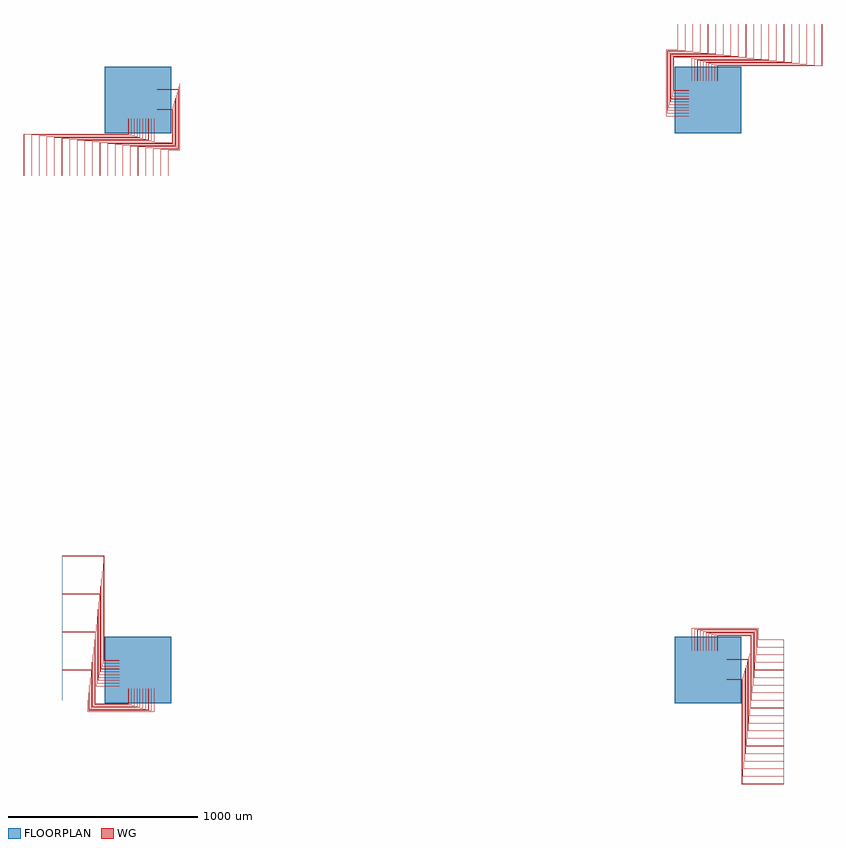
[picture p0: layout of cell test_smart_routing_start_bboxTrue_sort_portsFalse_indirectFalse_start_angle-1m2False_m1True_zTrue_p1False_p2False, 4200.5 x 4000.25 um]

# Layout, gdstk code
import gdstk
lib = gdstk.Library(unit=1e-6, precision=1e-09)
def R(c, l, rs):  # rectangles x0, y0, x1, y1
    for r in rs: c.add(gdstk.rectangle(r[:2], r[2:], *l))
def P(c, l, *ps):  # polygons
    for p in ps: c.add(gdstk.Polygon(p, *l))
WG = (1, 0)
FLOORPLAN = (10, 0)

test_smart_routing_start = lib.new_cell('test_smart_routing_start_bboxTrue_sort_portsFalse_indirectFalse_start_angle-1m2False_m1True_zTrue_p1False_p2False')
P(test_smart_routing_start, WG, [(-179.5,49.75),(-179.5,599.75),(-400,599.75),(-400,600.25),(-179,600.25),(-179,50.25),(-100,50.25),(-100,49.75)],
  [(-184,34.75),(-184,559.75),(-400,559.75),(-400,560.25),(-183.5,560.25),(-183.5,35.25),(-100,35.25),(-100,34.75)],
  [(-188.5,19.75),(-188.5,519.75),(-400,519.75),(-400,520.25),(-188,520.25),(-188,20.25),(-100,20.25),(-100,19.75)],
  [(-193,4.75),(-193,479.75),(-400,479.75),(-400,480.25),(-192.5,480.25),(-192.5,5.25),(-100,5.25),(-100,4.75)],
  [(-197.5,-10.25),(-197.5,439.75),(-400,439.75),(-400,440.25),(-197,440.25),(-197,-9.75),(-100,-9.75),(-100,-10.25)],
  [(-202,-25.25),(-202,399.75),(-400,399.75),(-400,400.25),(-201.5,400.25),(-201.5,-24.75),(-100,-24.75),(-100,-25.25)],
  [(-206.5,-40.25),(-206.5,359.75),(-400,359.75),(-400,360.25),(-206,360.25),(-206,-39.75),(-100,-39.75),(-100,-40.25)],
  [(-211,-55.25),(-211,319.75),(-400,319.75),(-400,320.25),(-210.5,320.25),(-210.5,-54.75),(-100,-54.75),(-100,-55.25)],
  [(-215.5,-70.25),(-215.5,279.75),(-400,279.75),(-400,280.25),(-215,280.25),(-215,-69.75),(-100,-69.75),(-100,-70.25)],
  [(-220,-85.25),(-220,239.75),(-400,239.75),(-400,240.25),(-219.5,240.25),(-219.5,-84.75),(-100,-84.75),(-100,-85.25)],
  [(-224.5,-179.5),(-224.5,199.75),(-400,199.75),(-400,200.25),(-224,200.25),(-224,-179),(-50.25,-179),(-50.25,-100),(-49.75,-100),(-49.75,-179.5)],
  [(-229,-184),(-229,159.75),(-400,159.75),(-400,160.25),(-228.5,160.25),(-228.5,-183.5),(-35.25,-183.5),(-35.25,-100),(-34.75,-100),(-34.75,-184)],
  [(-233.5,-188.5),(-233.5,119.75),(-400,119.75),(-400,120.25),(-233,120.25),(-233,-188),(-20.25,-188),(-20.25,-100),(-19.75,-100),(-19.75,-188.5)],
  [(-238,-193),(-238,79.75),(-400,79.75),(-400,80.25),(-237.5,80.25),(-237.5,-192.5),(-5.25,-192.5),(-5.25,-100),(-4.75,-100),(-4.75,-193)],
  [(-242.5,-197.5),(-242.5,39.75),(-400,39.75),(-400,40.25),(-242,40.25),(-242,-197),(9.75,-197),(9.75,-100),(10.25,-100),(10.25,-197.5)],
  [(-247,-202),(-247,-0.25),(-400,-0.25),(-400,0.25),(-246.5,0.25),(-246.5,-201.5),(24.75,-201.5),(24.75,-100),(25.25,-100),(25.25,-202)],
  [(-251.5,-206.5),(-251.5,-40.25),(-400,-40.25),(-400,-39.75),(-251,-39.75),(-251,-206),(39.75,-206),(39.75,-100),(40.25,-100),(40.25,-206.5)],
  [(-256,-211),(-256,-80.25),(-400,-80.25),(-400,-79.75),(-255.5,-79.75),(-255.5,-210.5),(54.75,-210.5),(54.75,-100),(55.25,-100),(55.25,-211)],
  [(-260.5,-215.5),(-260.5,-120.25),(-400,-120.25),(-400,-119.75),(-260,-119.75),(-260,-215),(69.75,-215),(69.75,-100),(70.25,-100),(70.25,-215.5)],
  [(-265,-220),(-265,-160.25),(-400,-160.25),(-400,-159.75),(-264.5,-159.75),(-264.5,-219.5),(84.75,-219.5),(84.75,-100),(85.25,-100),(85.25,-220)],
  [(-600.25,2600),(-600.25,2821),(-50.25,2821),(-50.25,2900),(-49.75,2900),(-49.75,2820.5),(-599.75,2820.5),(-599.75,2600)],
  [(-560.25,2600),(-560.25,2816.5),(-35.25,2816.5),(-35.25,2900),(-34.75,2900),(-34.75,2816),(-559.75,2816),(-559.75,2600)],
  [(-520.25,2600),(-520.25,2812),(-20.25,2812),(-20.25,2900),(-19.75,2900),(-19.75,2811.5),(-519.75,2811.5),(-519.75,2600)],
  [(-480.25,2600),(-480.25,2807.5),(-5.25,2807.5),(-5.25,2900),(-4.75,2900),(-4.75,2807),(-479.75,2807),(-479.75,2600)],
  [(-440.25,2600),(-440.25,2803),(9.75,2803),(9.75,2900),(10.25,2900),(10.25,2802.5),(-439.75,2802.5),(-439.75,2600)],
  [(-400.25,2600),(-400.25,2798.5),(24.75,2798.5),(24.75,2900),(25.25,2900),(25.25,2798),(-399.75,2798),(-399.75,2600)],
  [(-360.25,2600),(-360.25,2794),(39.75,2794),(39.75,2900),(40.25,2900),(40.25,2793.5),(-359.75,2793.5),(-359.75,2600)],
  [(-320.25,2600),(-320.25,2789.5),(54.75,2789.5),(54.75,2900),(55.25,2900),(55.25,2789),(-319.75,2789),(-319.75,2600)],
  [(-280.25,2600),(-280.25,2785),(69.75,2785),(69.75,2900),(70.25,2900),(70.25,2784.5),(-279.75,2784.5),(-279.75,2600)],
  [(-240.25,2600),(-240.25,2780.5),(84.75,2780.5),(84.75,2900),(85.25,2900),(85.25,2780),(-239.75,2780),(-239.75,2600)],
  [(-200.25,2600),(-200.25,2776),(179,2776),(179,2949.75),(100,2949.75),(100,2950.25),(179.5,2950.25),(179.5,2775.5),(-199.75,2775.5),(-199.75,2600)],
  [(-160.25,2600),(-160.25,2771.5),(183.5,2771.5),(183.5,2964.75),(100,2964.75),(100,2965.25),(184,2965.25),(184,2771),(-159.75,2771),(-159.75,2600)],
  [(-120.25,2600),(-120.25,2767),(188,2767),(188,2979.75),(100,2979.75),(100,2980.25),(188.5,2980.25),(188.5,2766.5),(-119.75,2766.5),(-119.75,2600)],
  [(-80.25,2600),(-80.25,2762.5),(192.5,2762.5),(192.5,2994.75),(100,2994.75),(100,2995.25),(193,2995.25),(193,2762),(-79.75,2762),(-79.75,2600)],
  [(-40.25,2600),(-40.25,2758),(197,2758),(197,3009.75),(100,3009.75),(100,3010.25),(197.5,3010.25),(197.5,2757.5),(-39.75,2757.5),(-39.75,2600)],
  [(-0.25,2600),(-0.25,2753.5),(201.5,2753.5),(201.5,3024.75),(100,3024.75),(100,3025.25),(202,3025.25),(202,2753),(0.25,2753),(0.25,2600)],
  [(39.75,2600),(39.75,2749),(206,2749),(206,3039.75),(100,3039.75),(100,3040.25),(206.5,3040.25),(206.5,2748.5),(40.25,2748.5),(40.25,2600)],
  [(79.75,2600),(79.75,2744.5),(210.5,2744.5),(210.5,3054.75),(100,3054.75),(100,3055.25),(211,3055.25),(211,2744),(80.25,2744),(80.25,2600)],
  [(119.75,2600),(119.75,2740),(215,2740),(215,3069.75),(100,3069.75),(100,3070.25),(215.5,3070.25),(215.5,2739.5),(120.25,2739.5),(120.25,2600)],
  [(159.75,2600),(159.75,2735.5),(219.5,2735.5),(219.5,3084.75),(100,3084.75),(100,3085.25),(220,3085.25),(220,2735),(160.25,2735),(160.25,2600)],
  [(3179,-600.25),(3179,-50.25),(3100,-50.25),(3100,-49.75),(3179.5,-49.75),(3179.5,-599.75),(3400,-599.75),(3400,-600.25)],
  [(3183.5,-560.25),(3183.5,-35.25),(3100,-35.25),(3100,-34.75),(3184,-34.75),(3184,-559.75),(3400,-559.75),(3400,-560.25)],
  [(3188,-520.25),(3188,-20.25),(3100,-20.25),(3100,-19.75),(3188.5,-19.75),(3188.5,-519.75),(3400,-519.75),(3400,-520.25)],
  [(3192.5,-480.25),(3192.5,-5.25),(3100,-5.25),(3100,-4.75),(3193,-4.75),(3193,-479.75),(3400,-479.75),(3400,-480.25)],
  [(3197,-440.25),(3197,9.75),(3100,9.75),(3100,10.25),(3197.5,10.25),(3197.5,-439.75),(3400,-439.75),(3400,-440.25)],
  [(3201.5,-400.25),(3201.5,24.75),(3100,24.75),(3100,25.25),(3202,25.25),(3202,-399.75),(3400,-399.75),(3400,-400.25)],
  [(3206,-360.25),(3206,39.75),(3100,39.75),(3100,40.25),(3206.5,40.25),(3206.5,-359.75),(3400,-359.75),(3400,-360.25)],
  [(3210.5,-320.25),(3210.5,54.75),(3100,54.75),(3100,55.25),(3211,55.25),(3211,-319.75),(3400,-319.75),(3400,-320.25)],
  [(3215,-280.25),(3215,69.75),(3100,69.75),(3100,70.25),(3215.5,70.25),(3215.5,-279.75),(3400,-279.75),(3400,-280.25)],
  [(3219.5,-240.25),(3219.5,84.75),(3100,84.75),(3100,85.25),(3220,85.25),(3220,-239.75),(3400,-239.75),(3400,-240.25)],
  [(3224,-200.25),(3224,179),(3050.25,179),(3050.25,100),(3049.75,100),(3049.75,179.5),(3224.5,179.5),(3224.5,-199.75),(3400,-199.75),(3400,-200.25)],
  [(3228.5,-160.25),(3228.5,183.5),(3035.25,183.5),(3035.25,100),(3034.75,100),(3034.75,184),(3229,184),(3229,-159.75),(3400,-159.75),(3400,-160.25)],
  [(3233,-120.25),(3233,188),(3020.25,188),(3020.25,100),(3019.75,100),(3019.75,188.5),(3233.5,188.5),(3233.5,-119.75),(3400,-119.75),(3400,-120.25)],
  [(3237.5,-80.25),(3237.5,192.5),(3005.25,192.5),(3005.25,100),(3004.75,100),(3004.75,193),(3238,193),(3238,-79.75),(3400,-79.75),(3400,-80.25)],
  [(3242,-40.25),(3242,197),(2990.25,197),(2990.25,100),(2989.75,100),(2989.75,197.5),(3242.5,197.5),(3242.5,-39.75),(3400,-39.75),(3400,-40.25)],
  [(3246.5,-0.25),(3246.5,201.5),(2975.25,201.5),(2975.25,100),(2974.75,100),(2974.75,202),(3247,202),(3247,0.25),(3400,0.25),(3400,-0.25)],
  [(3251,39.75),(3251,206),(2960.25,206),(2960.25,100),(2959.75,100),(2959.75,206.5),(3251.5,206.5),(3251.5,40.25),(3400,40.25),(3400,39.75)],
  [(3255.5,79.75),(3255.5,210.5),(2945.25,210.5),(2945.25,100),(2944.75,100),(2944.75,211),(3256,211),(3256,80.25),(3400,80.25),(3400,79.75)],
  [(2929.75,100),(2929.75,215.5),(3260.5,215.5),(3260.5,120.25),(3400,120.25),(3400,119.75),(3260,119.75),(3260,215),(2930.25,215),(2930.25,100)],
  [(2914.75,100),(2914.75,220),(3265,220),(3265,160.25),(3400,160.25),(3400,159.75),(3264.5,159.75),(3264.5,219.5),(2915.25,219.5),(2915.25,100)],
  [(3049.75,3100),(3049.75,3179.5),(3599.75,3179.5),(3599.75,3400),(3600.25,3400),(3600.25,3179),(3050.25,3179),(3050.25,3100)],
  [(3034.75,3100),(3034.75,3184),(3559.75,3184),(3559.75,3400),(3560.25,3400),(3560.25,3183.5),(3035.25,3183.5),(3035.25,3100)],
  [(3019.75,3100),(3019.75,3188.5),(3519.75,3188.5),(3519.75,3400),(3520.25,3400),(3520.25,3188),(3020.25,3188),(3020.25,3100)],
  [(3004.75,3100),(3004.75,3193),(3479.75,3193),(3479.75,3400),(3480.25,3400),(3480.25,3192.5),(3005.25,3192.5),(3005.25,3100)],
  [(2989.75,3100),(2989.75,3197.5),(3439.75,3197.5),(3439.75,3400),(3440.25,3400),(3440.25,3197),(2990.25,3197),(2990.25,3100)],
  [(2974.75,3100),(2974.75,3202),(3399.75,3202),(3399.75,3400),(3400.25,3400),(3400.25,3201.5),(2975.25,3201.5),(2975.25,3100)],
  [(2959.75,3100),(2959.75,3206.5),(3359.75,3206.5),(3359.75,3400),(3360.25,3400),(3360.25,3206),(2960.25,3206),(2960.25,3100)],
  [(2944.75,3100),(2944.75,3211),(3319.75,3211),(3319.75,3400),(3320.25,3400),(3320.25,3210.5),(2945.25,3210.5),(2945.25,3100)],
  [(2929.75,3100),(2929.75,3215.5),(3279.75,3215.5),(3279.75,3400),(3280.25,3400),(3280.25,3215),(2930.25,3215),(2930.25,3100)],
  [(2914.75,3100),(2914.75,3220),(3239.75,3220),(3239.75,3400),(3240.25,3400),(3240.25,3219.5),(2915.25,3219.5),(2915.25,3100)],
  [(2820.5,3049.75),(2820.5,3224.5),(3199.75,3224.5),(3199.75,3400),(3200.25,3400),(3200.25,3224),(2821,3224),(2821,3050.25),(2900,3050.25),(2900,3049.75)],
  [(2816,3034.75),(2816,3229),(3159.75,3229),(3159.75,3400),(3160.25,3400),(3160.25,3228.5),(2816.5,3228.5),(2816.5,3035.25),(2900,3035.25),(2900,3034.75)],
  [(2811.5,3019.75),(2811.5,3233.5),(3119.75,3233.5),(3119.75,3400),(3120.25,3400),(3120.25,3233),(2812,3233),(2812,3020.25),(2900,3020.25),(2900,3019.75)],
  [(2807,3004.75),(2807,3238),(3079.75,3238),(3079.75,3400),(3080.25,3400),(3080.25,3237.5),(2807.5,3237.5),(2807.5,3005.25),(2900,3005.25),(2900,3004.75)],
  [(2802.5,2989.75),(2802.5,3242.5),(3039.75,3242.5),(3039.75,3400),(3040.25,3400),(3040.25,3242),(2803,3242),(2803,2990.25),(2900,2990.25),(2900,2989.75)],
  [(2798,2974.75),(2798,3247),(2999.75,3247),(2999.75,3400),(3000.25,3400),(3000.25,3246.5),(2798.5,3246.5),(2798.5,2975.25),(2900,2975.25),(2900,2974.75)],
  [(2793.5,2959.75),(2793.5,3251.5),(2959.75,3251.5),(2959.75,3400),(2960.25,3400),(2960.25,3251),(2794,3251),(2794,2960.25),(2900,2960.25),(2900,2959.75)],
  [(2789,2944.75),(2789,3256),(2919.75,3256),(2919.75,3400),(2920.25,3400),(2920.25,3255.5),(2789.5,3255.5),(2789.5,2945.25),(2900,2945.25),(2900,2944.75)],
  [(2784.5,2929.75),(2784.5,3260.5),(2879.75,3260.5),(2879.75,3400),(2880.25,3400),(2880.25,3260),(2785,3260),(2785,2930.25),(2900,2930.25),(2900,2929.75)],
  [(2780,2914.75),(2780,3265),(2839.75,3265),(2839.75,3400),(2840.25,3400),(2840.25,3264.5),(2780.5,3264.5),(2780.5,2915.25),(2900,2915.25),(2900,2914.75)])
R(test_smart_routing_start, FLOORPLAN, [(-175,-175,175,175), (2825,-175,3175,175), (-175,2825,175,3175), (2825,2825,3175,3175)])
P(test_smart_routing_start, FLOORPLAN, [(-400,-160),(-400,600),(-400,600),(-400,-160)],
  [(-600,2600),(-600,2600),(160,2600),(160,2600)],
  [(3400,-600),(3400,160),(3400,160),(3400,-600)],
  [(2840,3400),(2840,3400),(3600,3400),(3600,3400)])

lib.write_gds('test_smart_routing_start_bboxTrue_sort_portsFalse_indirectFalse_start_angle-1m2False_m1True_zTrue_p1False_p2False.gds')
